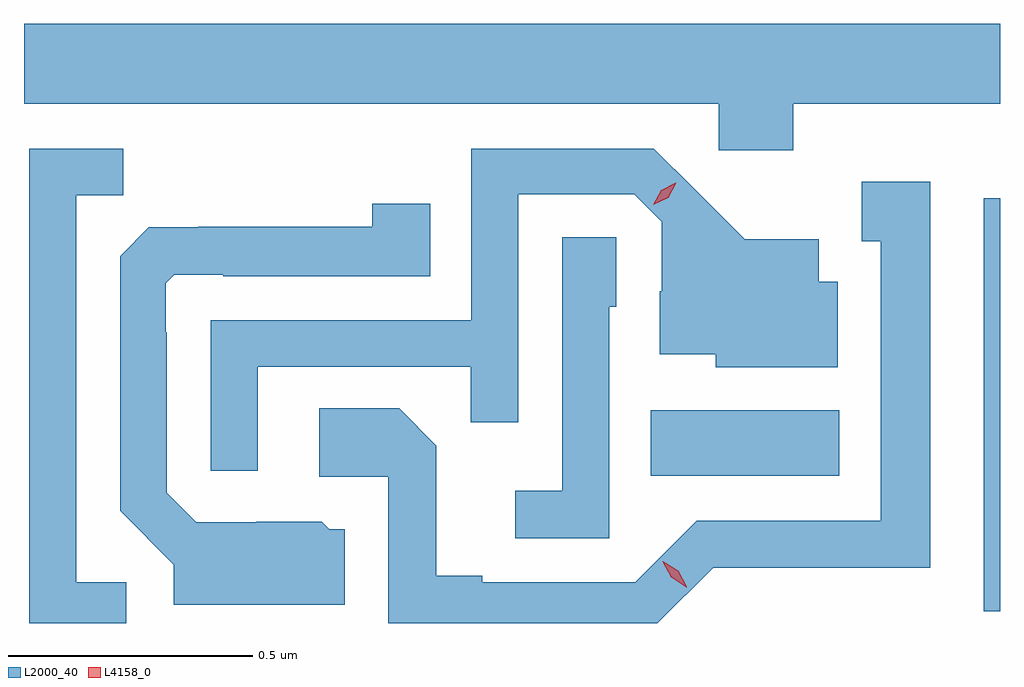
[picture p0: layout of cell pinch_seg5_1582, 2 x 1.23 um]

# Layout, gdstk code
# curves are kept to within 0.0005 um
import gdstk
lib = gdstk.Library(unit=1e-6, precision=1e-09)
def R(c, l, rs):  # rectangles x0, y0, x1, y1
    for r in rs: c.add(gdstk.rectangle(r[:2], r[2:], *l))
def P(c, l, *ps):  # polygons
    for p in ps: c.add(gdstk.Polygon(p, *l))
L2000_40 = (2000, 40)
L4158_0 = (4158, 0)

pinch_seg5_1582 = lib.new_cell('pinch_seg5_1582')
R(pinch_seg5_1582, L2000_40, [(302.331,851.724,302.364,852.571), (301.648,852.002,302.035,852.136)])
P(pinch_seg5_1582, L2000_40, [(301.94,852.764),(302.364,852.764),(302.364,852.928),(300.364,852.928),(300.364,852.764),(301.788,852.764),(301.788,852.669),(301.94,852.669)],
  [(300.574,851.784),(300.471,851.784),(300.471,852.577),(300.567,852.577),(300.567,852.672),(300.375,852.672),(300.375,851.7),(300.574,851.7)],
  [(300.843,852.225),(301.279,852.225),(301.279,852.112),(301.377,852.112),(301.377,852.579),(301.614,852.579),(301.671,852.522),(301.671,852.38),(301.667,852.38),(301.667,852.251),(301.782,852.251),(301.782,852.224),(302.032,852.224),(302.032,852.4),(301.993,852.4),(301.993,852.487),(301.841,852.487),(301.654,852.672),(301.281,852.672),(301.281,852.321),(300.747,852.321),(300.747,852.012),(300.843,852.012)],
  [(301.776,851.814),(301.998,851.814),(301.998,851.813),(302.221,851.813),(302.221,852.604),(302.081,852.604),(302.081,852.483),(302.12,852.483),(302.12,851.91),(301.743,851.91),(301.617,851.784),(301.303,851.784),(301.303,851.797),(301.209,851.797),(301.209,852.064),(301.133,852.14),(300.969,852.14),(300.969,852),(301.11,852),(301.11,851.7),(301.662,851.7)],
  [(301.021,851.892),(300.99,851.892),(300.974,851.908),(300.84,851.908),(300.84,851.907),(300.717,851.907),(300.657,851.967),(300.657,852.296),(300.654,852.296),(300.654,852.396),(300.672,852.414),(300.772,852.414),(300.772,852.411),(301.196,852.411),(301.196,852.559),(301.078,852.559),(301.078,852.512),(300.721,852.512),(300.721,852.511),(300.62,852.511),(300.561,852.452),(300.561,851.93),(300.671,851.82),(300.671,851.738),(301.021,851.738)],
  [(301.563,852.348),(301.578,852.348),(301.578,852.491),(301.467,852.491),(301.467,851.971),(301.371,851.971),(301.371,851.874),(301.563,851.874)])
P(pinch_seg5_1582, L4158_0, [(301.721,851.774),(301.69,851.794),(301.673,851.826),(301.673,851.827),(301.673,851.827),(301.705,851.807),(301.722,851.775),(301.722,851.774)],
  [(301.653,852.557),(301.653,852.557),(301.67,852.587),(301.7,852.602),(301.701,852.602),(301.701,852.602),(301.684,852.572),(301.653,852.557)])

lib.write_gds('pinch_seg5_1582.gds')
